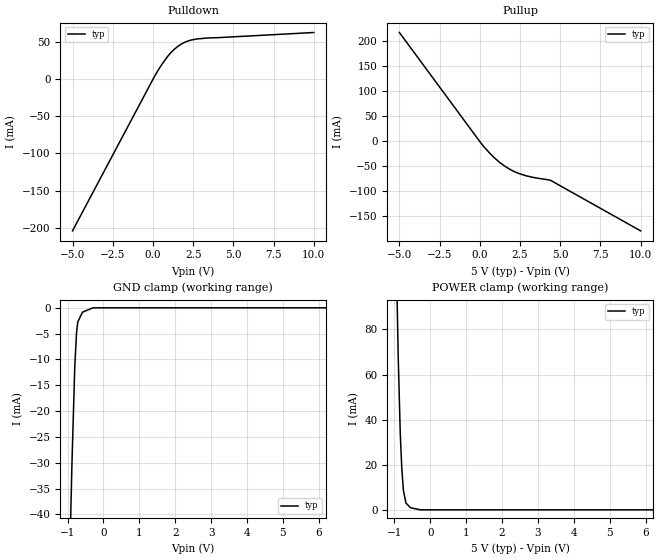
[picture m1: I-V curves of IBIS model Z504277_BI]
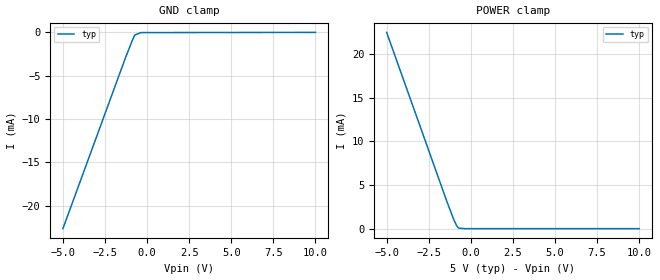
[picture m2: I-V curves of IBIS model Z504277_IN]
| YOU ARE ONLY AUTHORIZED TO USE THIS SOFTWARE
| ACCORDING TO LICENSOR'S LICENSE RESTRICTIONS.
[IBIS Ver] 3.1
[File Name] mc74hc646dw.ibs
[File Rev] 2.0
[Source] Measured and created by ICX Technology
[Date] Friday 7/14/00 9:08:11 AM
[Copyright]
| (C) COPYRIGHT 1993-2000
| MENTOR GRAPHICS CORPORATION
| ICX STANDARD LIBRARY, ICX PROJECT MODELING,
| ICX CUSTOM MODELING, ICX VENDOR MODEL
| ALL RIGHTS RESERVED.
| THE FOLLOWING ARE TRADEMARKS OR SERVICE MARKS OF
| MENTOR GRAPHICS CORPORATION:ICX (R), ICX STANDARD
| LIBRARY(R), ICX PROJECT MODELING(R), ICX CUSTOM
| MODELING(R), qualityIBIS(TM), MODELVIEWER(TM),
| AND MODELEDITOR(TM)
| ALL COPIES OF SOFTWARE, INCLUDING BUT NOT LIMITED TO
| ANY MODIFICATIONS, ENHANCEMENTS OR DERIVATIVE WORKS,
| MUST CONTAIN ALL MENTOR GRAPHICS CORPORATION'S
| NOTICES AND LEGENDS, INCLUDING THOSE EMBEDDED IN
| SOFTWARE AND THOSE AFFIXED TO SOFTWARE MEDIUM
| AND CONTAINER, AS RECEIVED FROM MENTOR GRAPHICS
| CORPORATION.
|  ZAP Model Builder 2.7
[Component] MC74HC646DW
[Manufacturer] OnSemiconductor
[Package]
| variable   typ   min   max
R_pkg  .18ohms NA NA
L_pkg  4.67nH NA NA
C_pkg  .637pF NA NA
[Pin] signal_name  model_name  R_pin  L_pin C_pin
1 CAB Z504277_IN .19 5.862n .712p
2 SAB Z504277_IN .186 5.372n .682p
3 DIR Z504277_IN .182 4.892n .652p
4 A0 Z504277_BI .178 4.422n .622p
5 A1 Z504277_BI .174 3.962n .592p
6 A2 Z504277_BI .17 3.512n .562p
7 A3 Z504277_BI .17 3.512n .562p
8 A4 Z504277_BI .174 3.962n .592p
9 A5 Z504277_BI .178 4.422n .622p
10 A6 Z504277_BI .182 4.892n .652p
11 A7 Z504277_BI .186 5.372n .682p
12 GND GND .19 5.862n .712p
13 B7 Z504277_BI .19 5.862n .712p
14 B6 Z504277_BI .186 5.372n .682p
15 B5 Z504277_BI .182 4.892n .652p
16 B4 Z504277_BI .178 4.422n .622p
17 B3 Z504277_BI .174 3.962n .592p
18 B2 Z504277_BI .17 3.512n .562p
19 B1 Z504277_BI .17 3.512n .562p
20 B0 Z504277_BI .174 3.962n .592p
21 _G Z504277_IN .178 4.422n .622p
22 SBA Z504277_IN .182 4.892n .652p
23 CBA Z504277_IN .186 5.372n .682p
24 VCC POWER .19 5.862n .712p
| Models and submodels in the file (2): Z504277_BI (I/O), Z504277_IN (Input)
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| (C) COPYRIGHT 1993-2000
| MENTOR GRAPHICS CORPORATION
| ICX STANDARD LIBRARY, ICX PROJECT MODELING,
| ICX CUSTOM MODELING, ICX VENDOR MODEL
| ALL RIGHTS RESERVED.
| THE FOLLOWING ARE TRADEMARKS OR SERVICE MARKS OF
| MENTOR GRAPHICS CORPORATION:ICX (R), ICX STANDARD
| LIBRARY(R), ICX PROJECT MODELING(R), ICX CUSTOM
| MODELING(R), qualityIBIS(TM), MODELVIEWER(TM),
| AND MODELEDITOR(TM)
| ALL COPIES OF SOFTWARE, INCLUDING BUT NOT LIMITED TO
| ANY MODIFICATIONS, ENHANCEMENTS OR DERIVATIVE WORKS,
| MUST CONTAIN ALL MENTOR GRAPHICS CORPORATION'S
| NOTICES AND LEGENDS, INCLUDING THOSE EMBEDDED IN
| SOFTWARE AND THOSE AFFIXED TO SOFTWARE MEDIUM
| AND CONTAINER, AS RECEIVED FROM MENTOR GRAPHICS
| CORPORATION.
| Model Application Version 1.89 2/18/99.
[Model] Z504277_BI
Model_type I/O
Vinl=1.000V
Vinh=3.500V
Vref=0.000V
Rref=500.0Mohms
Cref=50.00pF
Vmeas=2.500V
C_comp 8.000pF NA NA
| variable typ   min   max
[Voltage Range] 5.000V NA NA
[POWER Clamp Reference] 5.000V NA NA
[Pullup Reference] 5.000V NA NA
[Pulldown Reference] 0.000V NA NA
[GND Clamp Reference] 0.000V NA NA
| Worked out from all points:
|   slope of the pulldown table from 0 to 0.75 V, typ, clamps not added: 28.8 ohm
|   slope of the pullup table from 0 to 0.75 V, typ, clamps not added: 27.1 ohm
|   GND clamp passes 1 mA (typ) near -0.60 V on its own axis
|   POWER clamp passes 1 mA (typ) near -0.56 V on its own axis
[GND Clamp]
-5V       -1.055A    NA         NA
-1.154V   -111.4mA   NA         NA
-878.9mV  -30.09mA   NA         NA
-800.8mV  -11.46mA   NA         NA
-751.9mV  -4.902mA   NA         NA
-717mV    -2.731mA   NA         NA
-584.3mV  -842.8uA   NA         NA
-292.1mV  0A         NA         NA
10V       0A         NA         NA
[Pulldown]
-5V       -204.5mA   NA         NA
44.86mV   1.967mA    NA         NA
547.1mV   20.07mA    NA         NA
908.3mV   30.93mA    NA         NA
1.514V    44.07mA    NA         NA
2.144V    51.66mA    NA         NA
2.779V    54.89mA    NA         NA
10V       63.42mA    NA         NA
[Pullup]
-5V       217mA      NA         NA
39mV      -2.761mA   NA         NA
596mV     -23.66mA   NA         NA
1.251V    -43.29mA   NA         NA
1.875V    -56.76mA   NA         NA
2.446V    -65.14mA   NA         NA
3.277V    -72.49mA   NA         NA
4.39V     -78.51mA   NA         NA
10V       -179.7mA   NA         NA
[POWER Clamp]
-5V       4.526A     NA         NA
-1.011V   165mA      NA         NA
-898mV    68.9mA     NA         NA
-839mV    33.7mA     NA         NA
-797mV    18.66mA    NA         NA
-752mV    8.589mA    NA         NA
-679mV    2.962mA    NA         NA
-552mV    940.1uA    NA         NA
-276mV    0A         NA         NA
10V       0A         NA         NA
[Ramp]
| variable typ min max
dV/dt_r 2.876/2.200n NA NA
dV/dt_f 2.876/1.629n NA NA
R_load = 500.0Ohms
| (C) COPYRIGHT 1993-2000
| MENTOR GRAPHICS CORPORATION
| ICX STANDARD LIBRARY, ICX PROJECT MODELING,
| ICX CUSTOM MODELING, ICX VENDOR MODEL
| ALL RIGHTS RESERVED.
| THE FOLLOWING ARE TRADEMARKS OR SERVICE MARKS OF
| MENTOR GRAPHICS CORPORATION:ICX (R), ICX STANDARD
| LIBRARY(R), ICX PROJECT MODELING(R), ICX CUSTOM
| MODELING(R), qualityIBIS(TM), MODELVIEWER(TM),
| AND MODELEDITOR(TM)
| ALL COPIES OF SOFTWARE, INCLUDING BUT NOT LIMITED TO
| ANY MODIFICATIONS, ENHANCEMENTS OR DERIVATIVE WORKS,
| MUST CONTAIN ALL MENTOR GRAPHICS CORPORATION'S
| NOTICES AND LEGENDS, INCLUDING THOSE EMBEDDED IN
| SOFTWARE AND THOSE AFFIXED TO SOFTWARE MEDIUM
| AND CONTAINER, AS RECEIVED FROM MENTOR GRAPHICS
| CORPORATION.
| Model Application Version 1.89 2/18/99.
[Model] Z504277_IN
Model_type Input
Vinl = 1.000V
Vinh = 3.500V
C_comp 4.000pF NA NA
| variable typ   min   max
[Voltage Range] 5.000V NA NA
[GND Clamp Reference] 0.000V NA NA
[POWER Clamp Reference] 5.000V NA NA
[GND Clamp]
-5V       -22.64mA   NA         NA
-1.258V   -2.792mA   NA         NA
-878.7mV  -920.9uA   NA         NA
-727.7mV  -293.6uA   NA         NA
-363.8mV  -15.92uA   NA         NA
10V       5.73uA     NA         NA
[POWER Clamp]
-5V       22.49mA    NA         NA
-1.421V   3.103mA    NA         NA
-1.003V   991uA      NA         NA
-849mV    360.5uA    NA         NA
-730mV    67.73uA    NA         NA
-365mV    0A         NA         NA
10V       0A         NA         NA
